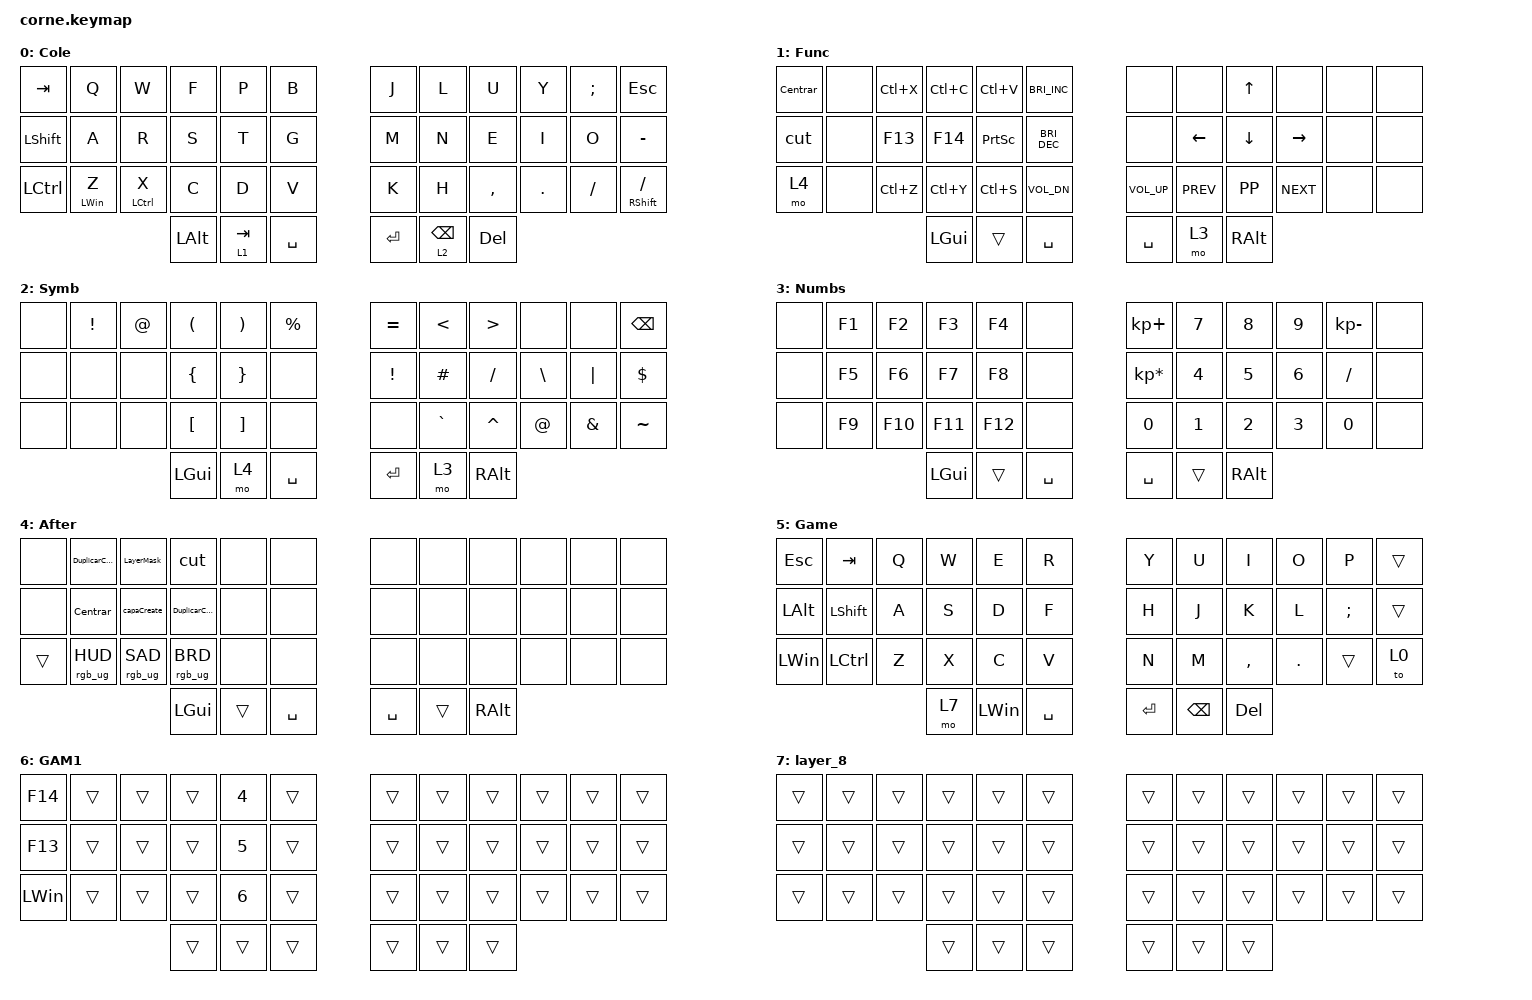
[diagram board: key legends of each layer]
/*
 * Copyright (c) 2020 The ZMK Contributors
 *
 * SPDX-License-Identifier: MIT
 */

#include <behaviors.dtsi>
#include <dt-bindings/zmk/keys.h>
#include <dt-bindings/zmk/rgb.h>

/ {
    combos {
        compatible = "zmk,combos";

        Enter {
            bindings = <&kp ENTER>;
            key-positions = <14 15>;
            layers = <0>;
        };

        Escape {
            bindings = <&kp ESC>;
            key-positions = <2 3>;
            layers = <0>;
        };

        backspace {
            bindings = <&kp BACKSPACE>;
            key-positions = <27 26>;
        };
    };

    macros {
        Centrar: Centrar {
            compatible = "zmk,behavior-macro";
            #binding-cells = <0>;
            bindings =
                <&macro_tap>,
                <&kp LCTRL &kp LEFT_ALT &kp LSHIFT &kp C_AC_HOME>;

            label = "CENTRAR";
        };

        cut: cut {
            compatible = "zmk,behavior-macro";
            #binding-cells = <0>;
            bindings = <&macro_tap>, <&kp LCTRL &kp LEFT_SHIFT &kp DELETE>;

            label = "CUT";
        };

        capaCreate: capaCreate {
            compatible = "zmk,behavior-macro";
            #binding-cells = <0>;
            bindings = <&macro_tap>, <&kp LC(Y)>;

            label = "CAPACREATE";
        };

        DuplicarCapa: DuplicarCapa {
            compatible = "zmk,behavior-macro";
            #binding-cells = <0>;
            bindings = <&macro_tap>, <&kp LC(D)>;

            label = "DUPLICARCAPA";
        };

        LayerMask: LayerMask {
            compatible = "zmk,behavior-macro";
            #binding-cells = <0>;
            bindings = <&macro_tap>, <&kp LC(LA(Y))>;

            label = "LAYERMASK";
        };
    };

    keymap {
        compatible = "zmk,keymap";

        Cole {
            // -----------------------------------------------------------------------------------------
            // |  TAB |  Q  |  W  |  E  |  R  |  T  |   |  Y  |  U   |  I  |  O  |  P  | BKSP |
            // | CTRL |  A  |  S  |  D  |  F  |  G  |   |  H  |  J   |  K  |  L  |  ;  |  '   |
            // | SHFT |  Z  |  X  |  C  |  V  |  B  |   |  N  |  M   |  ,  |  .  |  /  | ESC  |
            //                    | GUI | LWR | SPC |   | ENT | RSE  | ALT |

            display-name = "Cole";
            bindings = <
&kp TAB    &kp Q           &kp W        &kp F         &kp P      &kp B        &kp J       &kp L            &kp U       &kp Y    &kp SEMICOLON  &kp ESC
&kp LSHFT  &kp A           &kp R        &kp S         &kp T      &kp G        &kp M       &kp N            &kp E       &kp I    &kp O          &kp MINUS
&kp LCTRL  &mt LEFT_WIN Z  &mt LCTRL X  &kp C         &kp D      &kp V        &kp K       &kp H            &kp COMMA   &kp DOT  &kp FSLH       &mt RSHFT SLASH
                                        &kp LEFT_ALT  &lt 1 TAB  &kp SPACE    &kp RETURN  &lt 2 BACKSPACE  &kp DELETE
            >;
        };

        Funciones {
            // -----------------------------------------------------------------------------------------
            // |  TAB |  1  |  2  |  3  |  4  |  5  |   |  6  |  7  |  8  |  9  |  0  | BKSP |
            // | BTCLR| BT1 | BT2 | BT3 | BT4 | BT5 |   | LFT | DWN |  UP | RGT |     |      |
            // | SHFT |     |     |     |     |     |   |     |     |     |     |     |      |
            //                    | GUI |     | SPC |   | ENT |     | ALT |

            display-name = "Func";
            bindings = <
&Centrar  &none  &kp LC(X)  &kp LC(C)  &kp LC(V)        &kp C_BRIGHTNESS_INC    &none            &none           &kp UP_ARROW  &none       &none  &none
&cut      &none  &kp F13    &kp F14    &kp PRINTSCREEN  &kp C_BRI_DEC           &none            &kp LEFT_ARROW  &kp DOWN      &kp RIGHT   &none  &none
&mo 4     &none  &kp LC(Z)  &kp LC(Y)  &kp LC(S)        &kp C_VOL_DN            &kp C_VOLUME_UP  &kp K_PREV      &kp K_PP      &kp K_NEXT  &none  &none
                            &kp LGUI   &trans           &kp SPACE               &kp SPACE        &mo 3           &kp RALT
            >;
        };

        Simbolos {
            // -----------------------------------------------------------------------------------------
            // |  TAB |  !  |  @  |  #  |  $  |  %  |   |  ^  |  &  |  *  |  (  |  )  | BKSP |
            // | CTRL |     |     |     |     |     |   |  -  |  =  |  [  |  ]  |  \  |  `   |
            // | SHFT |     |     |     |     |     |   |  _  |  +  |  {  |  }  | "|" |  ~   |
            //                    | GUI |     | SPC |   | ENT |     | ALT |

            display-name = "Symb";
            bindings = <
&none  &kp EXCLAMATION  &kp AT  &kp LEFT_PARENTHESIS  &kp RIGHT_PARENTHESIS  &kp PRCNT    &kp EQUAL        &kp LESS_THAN  &kp GREATER_THAN  &none          &none          &kp BSPC
&none  &none            &none   &kp LEFT_BRACE        &kp RIGHT_BRACE        &none        &kp EXCLAMATION  &kp HASH       &kp SLASH         &kp BACKSLASH  &kp PIPE       &kp DLLR
&none  &none            &none   &kp LEFT_BRACKET      &kp RIGHT_BRACKET      &none        &none            &kp GRAVE      &kp CARET         &kp AT         &kp AMPERSAND  &kp TILDE
                                &kp LGUI              &mo 4                  &kp SPACE    &kp RET          &mo 3          &kp RALT
            >;
        };

        Numbs {
            display-name = "Numbs";
            bindings = <
&none  &kp F1  &kp F2   &kp F3        &kp F4   &none        &kp KP_PLUS      &kp NUMBER_7  &kp N8    &kp N9        &kp KP_MINUS  &none
&none  &kp F5  &kp F6   &kp F7        &kp F8   &none        &kp KP_MULTIPLY  &kp NUMBER_4  &kp N5    &kp NUMBER_6  &kp SLASH     &none
&none  &kp F9  &kp F10  &kp F11       &kp F12  &none        &kp NUMBER_0     &kp N1        &kp N2    &kp N3        &kp N0        &none
                        &kp LEFT_GUI  &trans   &kp SPACE    &kp SPACE        &trans        &kp RALT
            >;
        };

        extra_2 {
            display-name = "After";
            bindings = <
&none   &DuplicarCapa    &LayerMask       &cut             &none   &none        &none      &none   &none     &none  &none  &none
&none   &Centrar         &capaCreate      &DuplicarCapa    &none   &none        &none      &none   &none     &none  &none  &none
&trans  &rgb_ug RGB_HUD  &rgb_ug RGB_SAD  &rgb_ug RGB_BRD  &none   &none        &none      &none   &none     &none  &none  &none
                                          &kp LEFT_GUI     &trans  &kp SPACE    &kp SPACE  &trans  &kp RALT
            >;
        };

        extra_3 { status = "reserved"; };

        Gaming {
            bindings = <
&kp ESC       &kp TAB           &kp Q  &kp W  &kp E         &kp R        &kp Y      &kp U          &kp I      &kp O    &kp P     &trans
&kp LEFT_ALT  &kp LEFT_SHIFT    &kp A  &kp S  &kp D         &kp F        &kp H      &kp J          &kp K      &kp L    &kp SEMI  &trans
&kp LEFT_WIN  &kp LEFT_CONTROL  &kp Z  &kp X  &kp C         &kp V        &kp N      &kp M          &kp COMMA  &kp DOT  &trans    &to 0
                                       &mo 7  &kp LEFT_WIN  &kp SPACE    &kp ENTER  &kp BACKSPACE  &kp DEL
            >;

            label = "Game";
        };

        GAM1 {
            bindings = <
&kp F14       &trans  &trans  &trans  &kp N4        &trans    &trans  &trans  &trans  &trans  &trans  &trans
&kp F13       &trans  &trans  &trans  &kp N5        &trans    &trans  &trans  &trans  &trans  &trans  &trans
&kp LEFT_WIN  &trans  &trans  &trans  &kp NUMBER_6  &trans    &trans  &trans  &trans  &trans  &trans  &trans
                              &trans  &trans        &trans    &trans  &trans  &trans
            >;
        };

        layer_8 {
            bindings = <
&trans  &trans  &trans  &trans  &trans  &trans    &trans  &trans  &trans  &trans  &trans  &trans
&trans  &trans  &trans  &trans  &trans  &trans    &trans  &trans  &trans  &trans  &trans  &trans
&trans  &trans  &trans  &trans  &trans  &trans    &trans  &trans  &trans  &trans  &trans  &trans
                        &trans  &trans  &trans    &trans  &trans  &trans
            >;
        };
    };
};
